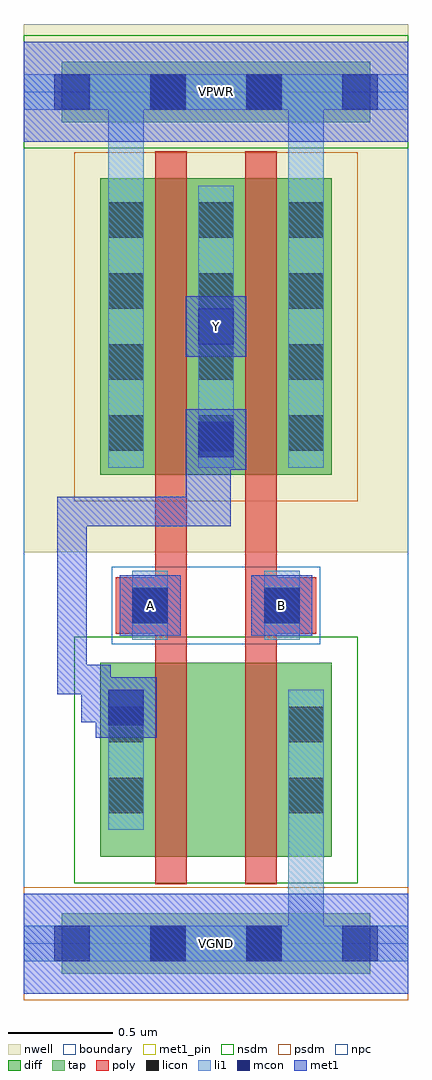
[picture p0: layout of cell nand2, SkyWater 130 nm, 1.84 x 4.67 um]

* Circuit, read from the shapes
.subckt nand2 A B VGND VPWR Y
XM1 n1 A Y VGND sky130_fd_pr__nfet_01v8 w=0.93 l=0.15
XM2 VGND B n1 VGND sky130_fd_pr__nfet_01v8 w=0.93 l=0.15
XM3 Y A VPWR VPWR sky130_fd_pr__pfet_01v8 w=1.42 l=0.15
XM4 VPWR B Y VPWR sky130_fd_pr__pfet_01v8 w=1.42 l=0.15
.ends

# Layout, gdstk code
import gdstk
lib = gdstk.Library(unit=1e-6, precision=1e-09)
def R(c, l, rs):  # rectangles x0, y0, x1, y1
    for r in rs: c.add(gdstk.rectangle(r[:2], r[2:], *l))
def A(c, l, x, y, w, h, nx, ny, dx, dy):  # array of equal rectangles
    R(c, l, [(x+i*dx, y+j*dy, x+i*dx+w, y+j*dy+h) for i in range(nx) for j in range(ny)])
nwell = (64, 20)
diff = (65, 20)
tap = (65, 44)
poly = (66, 20)
licon = (66, 44)
li1 = (67, 20)
mcon = (67, 44)
met1_pin = (68, 16)
met1 = (68, 20)
nsdm = (93, 44)
psdm = (94, 20)
npc = (95, 20)
boundary = (235, 4)

nand2 = lib.new_cell('nand2')
R(nand2, nwell, [(0,1.875,1.84,4.405)])
R(nand2, diff, [(0.365,0.415,1.475,1.345), (0.365,2.245,1.475,3.665)])
R(nand2, tap, [(0.18,-0.145,1.66,0.145), (0.18,3.935,1.66,4.225)])
R(nand2, poly, [(0.63,0.285,0.78,3.795), (1.06,0.285,1.21,3.795), (0.44,1.485,0.77,1.755), (1.07,1.485,1.4,1.755)])
A(nand2, licon, 0.405, 2.36, 0.17, 0.17, 3, 4, 0.43, 0.34)
R(nand2, licon, [(0.605,-0.085,0.775,0.085), (1.065,-0.085,1.235,0.085), (0.405,0.625,0.575,0.795), (1.265,0.625,1.435,0.795), (0.405,0.965,0.575,1.135), (1.265,0.965,1.435,1.135), (0.52,1.535,0.69,1.705), (1.15,1.535,1.32,1.705), (0.605,3.995,0.775,4.165), (1.065,3.995,1.235,4.165)])
A(nand2, li1, 0.405, 2.28, 0.17, 1.35, 3, 1, 0.43, 0)
R(nand2, li1, [(0,-0.085,1.84,0.085), (1.265,-0.085,1.435,1.215), (0.405,0.545,0.575,1.215), (1.265,0.545,1.435,1.215), (0.52,1.455,0.69,1.785), (1.15,1.455,1.32,1.785), (0.405,2.28,0.575,4.165), (1.265,2.28,1.435,4.165), (0,3.995,1.84,4.165)])
A(nand2, mcon, 0.145, -0.085, 0.17, 0.17, 4, 2, 0.46, 4.08)
R(nand2, mcon, [(0.405,1.045,0.575,1.215), (0.52,1.535,0.69,1.705), (1.15,1.535,1.32,1.705), (0.835,2.33,1.005,2.5), (0.835,2.87,1.005,3.04)])
R(nand2, met1_pin, [(0,-0.24,1.84,0.24), (0.46,1.475,0.75,1.765), (1.09,1.475,1.38,1.765), (0.775,2.81,1.065,3.1), (0,3.84,1.84,4.32)])
R(nand2, met1, [(0,-0.24,1.84,0.24), (0.345,0.985,0.635,1.275), (0.275,1.06,0.56,1.2), (0.275,1.06,0.415,1.335), (0.16,1.195,0.3,2.14), (0.16,1.195,0.415,1.335), (0.3,1.195,0.345,1.275), (0.3,1.195,0.345,1.275), (0.3,1.195,0.345,1.275), (0.3,1.195,0.345,1.275), (0.3,1.195,0.345,1.275), (0.3,1.195,0.345,1.275), (0.46,1.475,0.75,1.765), (1.09,1.475,1.38,1.765), (0.16,2,0.99,2.14), (0.85,2,0.99,2.485), (0.775,2.14,0.99,2.27), (0.775,2.14,0.99,2.27), (0.775,2.14,0.99,2.27), (0.775,2.14,0.99,2.27), (0.775,2.14,0.99,2.27), (0.775,2.14,0.99,2.27), (0.775,2.27,1.065,2.56), (0.775,2.81,1.065,3.1), (0,3.84,1.84,4.32)])
R(nand2, nsdm, [(0.24,0.29,1.6,1.47), (0,3.81,1.84,4.35)])
R(nand2, psdm, [(0,-0.27,1.84,0.27), (0.24,2.12,1.6,3.79)])
R(nand2, npc, [(0.42,1.435,1.42,1.805)])
R(nand2, boundary, [(0,0,1.84,4.08)])
nand2.add(gdstk.Label('A', (0.605,1.62), layer=68, texttype=5))
nand2.add(gdstk.Label('B', (1.235,1.62), layer=68, texttype=5))
nand2.add(gdstk.Label('Y', (0.92,2.955), layer=68, texttype=5))
nand2.add(gdstk.Label('VPWR', (0.92,4.08), layer=68, texttype=5))
nand2.add(gdstk.Label('VGND', (0.92,0), layer=68, texttype=5))
nand2.add(gdstk.Label('A', (0.605,1.62), layer=68, texttype=16))
nand2.add(gdstk.Label('B', (1.235,1.62), layer=68, texttype=16))
nand2.add(gdstk.Label('Y', (0.92,2.955), layer=68, texttype=16))
nand2.add(gdstk.Label('VPWR', (0.92,4.08), layer=68, texttype=16))
nand2.add(gdstk.Label('VGND', (0.92,0), layer=68, texttype=16))

lib.write_gds('nand2.gds')
